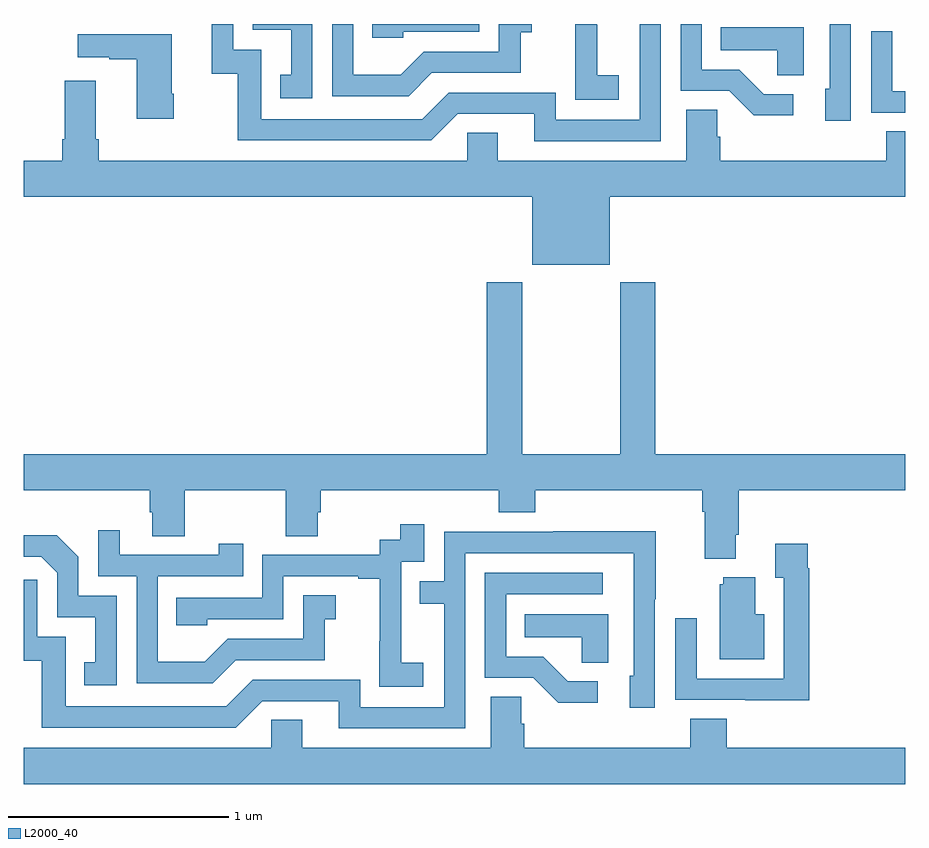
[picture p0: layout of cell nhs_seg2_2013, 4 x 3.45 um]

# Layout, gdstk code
import gdstk
lib = gdstk.Library(unit=1e-6, precision=1e-09)
def P(c, l, *ps):  # polygons
    for p in ps: c.add(gdstk.Polygon(p, *l))
L2000_40 = (2000, 40)

nhs_seg2_2013 = lib.new_cell('nhs_seg2_2013')
P(nhs_seg2_2013, L2000_40, [(219.891,601.8),(219.795,601.8),(219.795,601.365),(219.414,601.365),(219.414,601.488),(218.928,601.488),(218.808,601.368),(218.079,601.368),(218.079,601.683),(217.95,601.683),(217.95,601.8),(217.853,601.8),(217.853,601.575),(217.971,601.575),(217.971,601.272),(218.85,601.272),(218.97,601.392),(219.317,601.392),(219.317,601.269),(219.891,601.269)],
  [(220.752,601.8),(220.656,601.8),(220.656,601.506),(220.637,601.506),(220.637,601.362),(220.752,601.362)],
  [(218.851,601.578),(219.255,601.578),(219.255,601.763),(219.304,601.763),(219.304,601.8),(219.156,601.8),(219.156,601.674),(218.814,601.674),(218.71,601.57),(218.496,601.57),(218.496,601.8),(218.4,601.8),(218.4,601.473),(218.746,601.473)],
  [(218.31,601.8),(218.04,601.8),(218.04,601.773),(218.213,601.773),(218.213,601.569),(218.164,601.569),(218.164,601.464),(218.31,601.464)],
  [(219.7,601.567),(219.602,601.567),(219.602,601.796),(219.6,601.796),(219.6,601.8),(219.503,601.8),(219.503,601.663),(219.502,601.663),(219.502,601.457),(219.7,601.457)],
  [(218.721,601.764),(219.066,601.764),(219.066,601.8),(218.581,601.8),(218.581,601.737),(218.721,601.737)],
  [(220.492,601.482),(220.357,601.482),(220.246,601.593),(220.077,601.593),(220.077,601.8),(219.981,601.8),(219.981,601.497),(220.2,601.497),(220.313,601.385),(220.492,601.385)],
  [(220.54,601.786),(220.162,601.786),(220.162,601.682),(220.419,601.682),(220.419,601.567),(220.54,601.567)],
  [(221,601.494),(220.941,601.494),(220.941,601.768),(220.845,601.768),(220.845,601.398),(221,601.398)],
  [(217.68,601.483),(217.672,601.483),(217.672,601.753),(217.245,601.753),(217.245,601.649),(217.388,601.649),(217.388,601.639),(217.514,601.639),(217.514,601.371),(217.68,601.371)],
  [(219.308,600.707),(219.658,600.707),(219.658,601.016),(221,601.016),(221,601.313),(220.913,601.313),(220.913,601.18),(220.16,601.18),(220.16,601.289),(220.146,601.289),(220.146,601.412),(220.007,601.412),(220.007,601.18),(219.151,601.18),(219.151,601.307),(219.012,601.307),(219.012,601.18),(217.34,601.18),(217.34,601.276),(217.327,601.276),(217.327,601.543),(217.187,601.543),(217.187,601.276),(217.175,601.276),(217.175,601.18),(217,601.18),(217,601.016),(219.308,601.016)],
  [(220.231,599.482),(220.244,599.482),(220.244,599.684),(221,599.684),(221,599.848),(219.866,599.848),(219.866,600.628),(219.706,600.628),(219.706,599.848),(219.261,599.848),(219.261,600.628),(219.101,600.628),(219.101,599.848),(217,599.848),(217,599.684),(217.571,599.684),(217.571,599.586),(217.583,599.586),(217.583,599.476),(217.731,599.476),(217.731,599.684),(218.188,599.684),(218.188,599.476),(218.335,599.476),(218.335,599.586),(218.348,599.586),(218.348,599.684),(219.155,599.684),(219.155,599.585),(219.32,599.585),(219.32,599.684),(220.079,599.684),(220.079,599.588),(220.091,599.588),(220.091,599.375),(220.231,599.375)],
  [(218.812,598.903),(218.714,598.903),(218.714,599.132),(218.712,599.132),(218.712,599.361),(218.817,599.361),(218.817,599.53),(218.709,599.53),(218.709,599.46),(218.616,599.46),(218.616,599.391),(218.082,599.391),(218.082,599.196),(217.693,599.196),(217.693,599.073),(217.833,599.073),(217.833,599.1),(218.178,599.1),(218.178,599.295),(218.519,599.295),(218.519,599.283),(218.615,599.283),(218.615,598.999),(218.614,598.999),(218.614,598.793),(218.812,598.793)],
  [(217.963,598.914),(218.367,598.914),(218.367,599.099),(218.416,599.099),(218.416,599.209),(218.268,599.209),(218.268,599.01),(217.926,599.01),(217.822,598.906),(217.608,598.906),(217.608,599.295),(217.997,599.295),(217.997,599.443),(217.886,599.443),(217.886,599.391),(217.435,599.391),(217.435,599.503),(217.338,599.503),(217.338,599.295),(217.512,599.295),(217.512,598.809),(217.858,598.809)],
  [(219.003,599.4),(219.768,599.4),(219.768,598.842),(219.749,598.842),(219.749,598.698),(219.864,598.698),(219.864,599.191),(219.867,599.191),(219.867,599.498),(219.403,599.498),(219.403,599.496),(218.907,599.496),(218.907,599.271),(218.797,599.271),(218.797,599.17),(218.907,599.17),(218.907,598.701),(218.526,598.701),(218.526,598.824),(218.04,598.824),(217.92,598.704),(217.191,598.704),(217.191,599.019),(217.062,599.019),(217.062,599.278),(217,599.278),(217,598.911),(217.083,598.911),(217.083,598.608),(217.962,598.608),(218.082,598.728),(218.429,598.728),(218.429,598.605),(219.003,598.605)],
  [(217.422,599.205),(217.248,599.205),(217.248,599.382),(217.15,599.48),(217,599.48),(217,599.382),(217.08,599.382),(217.152,599.31),(217.152,599.109),(217.325,599.109),(217.325,598.905),(217.276,598.905),(217.276,598.8),(217.422,598.8)],
  [(220.565,599.33),(220.558,599.33),(220.558,599.443),(220.409,599.443),(220.409,599.287),(220.449,599.287),(220.449,598.83),(220.053,598.83),(220.053,599.104),(219.957,599.104),(219.957,598.734),(220.273,598.734),(220.273,598.733),(220.565,598.733)],
  [(219.604,598.818),(219.469,598.818),(219.358,598.929),(219.189,598.929),(219.189,599.214),(219.628,599.214),(219.628,599.31),(219.093,599.31),(219.093,598.833),(219.312,598.833),(219.425,598.721),(219.604,598.721)],
  [(220.36,599.122),(220.318,599.122),(220.318,599.29),(220.175,599.29),(220.175,599.259),(220.157,599.259),(220.157,598.919),(220.36,598.919)],
  [(219.652,599.122),(219.274,599.122),(219.274,599.018),(219.531,599.018),(219.531,598.903),(219.652,598.903)],
  [(221,598.516),(220.19,598.516),(220.19,598.649),(220.025,598.649),(220.025,598.516),(219.272,598.516),(219.272,598.625),(219.258,598.625),(219.258,598.748),(219.119,598.748),(219.119,598.516),(218.263,598.516),(218.263,598.643),(218.124,598.643),(218.124,598.516),(217,598.516),(217,598.352),(221,598.352)])

lib.write_gds('nhs_seg2_2013.gds')
